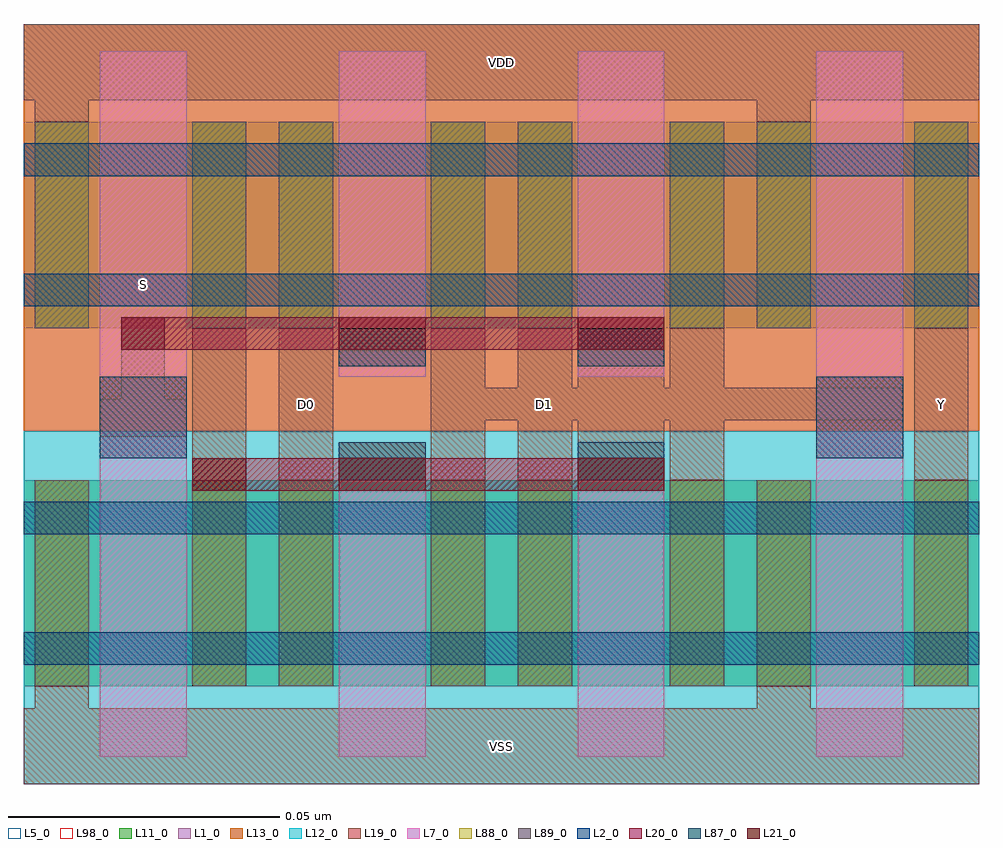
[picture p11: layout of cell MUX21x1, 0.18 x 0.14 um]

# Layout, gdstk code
import gdstk
lib = gdstk.Library(unit=1e-6, precision=1e-12)
def R(c, l, rs):  # rectangles x0, y0, x1, y1
    for r in rs: c.add(gdstk.rectangle(r[:2], r[2:], *l))
L1_0 = (1, 0)
L2_0 = (2, 0)
L5_0 = (5, 0)
L7_0 = (7, 0)
L11_0 = (11, 0)
L12_0 = (12, 0)
L13_0 = (13, 0)
L19_0 = (19, 0)
L20_0 = (20, 0)
L21_0 = (21, 0)
L87_0 = (87, 0)
L88_0 = (88, 0)
L89_0 = (89, 0)
L98_0 = (98, 0)

mux21x1 = lib.new_cell('MUX21x1')
R(mux21x1, L1_0, [(0,0.065,0.176,0.14)])
R(mux21x1, L2_0, [(0,0.022,0.176,0.028), (0,0.046,0.176,0.052), (0,0.088,0.176,0.094), (0,0.112,0.176,0.118)])
R(mux21x1, L5_0, [(0,0,0.176,0.14)])
R(mux21x1, L7_0, [(0.014,0.005,0.03,0.135), (0.058,0.005,0.074,0.06), (0.102,0.005,0.118,0.06), (0.146,0.005,0.162,0.135), (0.058,0.075,0.074,0.135), (0.102,0.075,0.118,0.135)])
R(mux21x1, L11_0, [(0,0.018,0.176,0.056), (0,0.084,0.176,0.122)])
R(mux21x1, L12_0, [(0,0,0.176,0.065)])
R(mux21x1, L13_0, [(0,0.065,0.176,0.14)])
R(mux21x1, L19_0, [(0,0,0.176,0.014), (0.002,0,0.012,0.018), (0.135,0,0.145,0.018), (0.031,0.054,0.041,0.056), (0.031,0.056,0.041,0.084), (0.047,0.056,0.057,0.084), (0.075,0.056,0.085,0.084), (0.091,0.056,0.101,0.084), (0.119,0.056,0.129,0.084), (0.164,0.056,0.174,0.084), (0.058,0.06,0.074,0.063), (0.102,0.06,0.118,0.084), (0.102,0.063,0.118,0.08), (0.014,0.064,0.03,0.071), (0.075,0.067,0.129,0.073), (0.129,0.067,0.162,0.073), (0.018,0.071,0.026,0.086), (0.058,0.077,0.074,0.08), (0.002,0.122,0.012,0.14), (0.135,0.122,0.145,0.14), (0,0.126,0.176,0.14)])
R(mux21x1, L20_0, [(0.031,0.054,0.118,0.06), (0.018,0.08,0.118,0.086)])
R(mux21x1, L21_0, [(0.031,0.054,0.041,0.06), (0.058,0.054,0.074,0.06), (0.102,0.054,0.118,0.06), (0.018,0.08,0.026,0.086), (0.058,0.08,0.074,0.086), (0.102,0.08,0.118,0.086)])
R(mux21x1, L87_0, [(0.058,0.056,0.074,0.063), (0.102,0.056,0.118,0.063), (0.014,0.06,0.03,0.075), (0.146,0.06,0.162,0.075), (0.058,0.077,0.074,0.084), (0.102,0.077,0.118,0.084)])
R(mux21x1, L88_0, [(0.002,0.018,0.012,0.056), (0.031,0.018,0.041,0.056), (0.047,0.018,0.057,0.056), (0.075,0.018,0.085,0.056), (0.091,0.018,0.101,0.056), (0.119,0.018,0.129,0.056), (0.135,0.018,0.145,0.056), (0.164,0.018,0.174,0.056), (0.002,0.084,0.012,0.122), (0.031,0.084,0.041,0.122), (0.047,0.084,0.057,0.122), (0.075,0.084,0.085,0.122), (0.091,0.084,0.101,0.122), (0.119,0.084,0.129,0.122), (0.135,0.084,0.145,0.122), (0.164,0.084,0.174,0.122)])
R(mux21x1, L89_0, [(0.002,0.018,0.012,0.056), (0.031,0.018,0.041,0.056), (0.047,0.018,0.057,0.056), (0.075,0.018,0.085,0.056), (0.091,0.018,0.101,0.056), (0.119,0.018,0.129,0.056), (0.135,0.018,0.145,0.056), (0.164,0.018,0.174,0.056), (0.002,0.084,0.012,0.122), (0.031,0.084,0.041,0.122), (0.047,0.084,0.057,0.122), (0.075,0.084,0.085,0.122), (0.091,0.084,0.101,0.122), (0.119,0.084,0.129,0.122), (0.135,0.084,0.145,0.122), (0.164,0.084,0.174,0.122)])
R(mux21x1, L98_0, [(0,0,0.176,0.14)])
mux21x1.add(gdstk.Label('S', (0.022,0.092), layer=101, texttype=0))
mux21x1.add(gdstk.Label('D0', (0.052,0.07), layer=101, texttype=0))
mux21x1.add(gdstk.Label('D1', (0.096,0.07), layer=101, texttype=0))
mux21x1.add(gdstk.Label('Y', (0.169,0.07), layer=101, texttype=0))
mux21x1.add(gdstk.Label('VDD', (0.088,0.133), layer=101, texttype=0))
mux21x1.add(gdstk.Label('VSS', (0.088,0.007), layer=101, texttype=0))

lib.write_gds('MUX21x1.gds')
